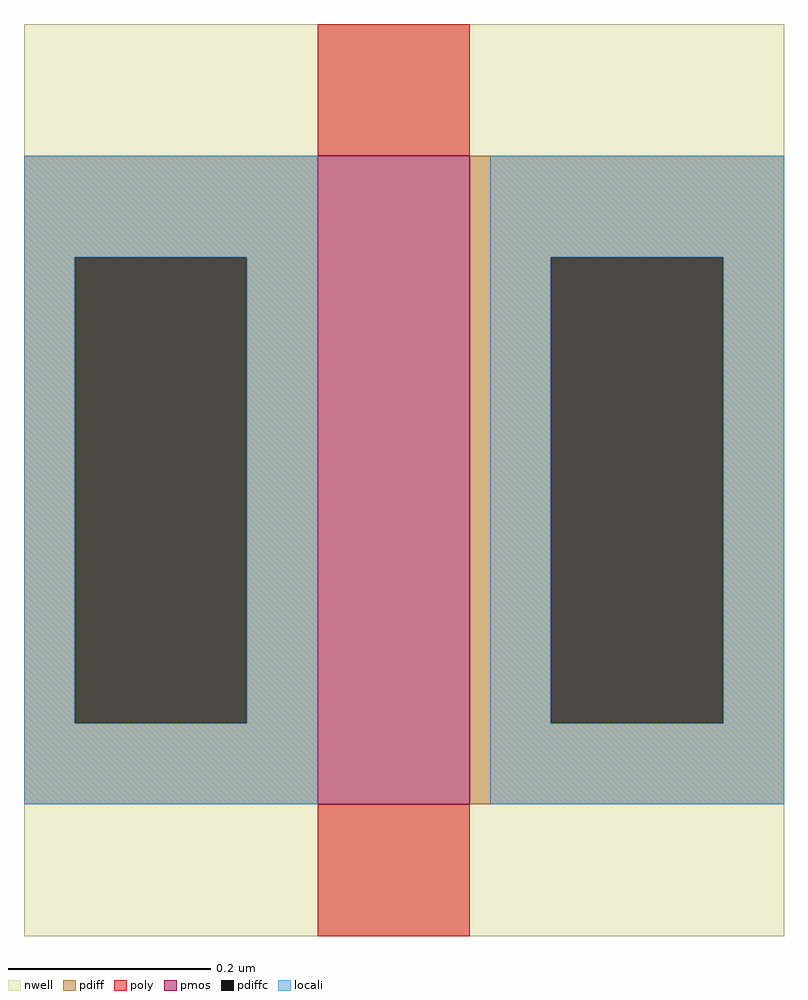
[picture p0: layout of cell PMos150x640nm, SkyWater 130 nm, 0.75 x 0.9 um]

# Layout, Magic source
magic
tech sky130A
<< nwell >>
rect -30 -13 45 77
<< pmos >>
rect -1 0 14 64
<< pdiff >>
rect -30 54 -1 64
rect -30 8 -25 54
rect -8 8 -1 54
rect -30 0 -1 8
rect 14 54 45 64
rect 14 8 22 54
rect 39 8 45 54
rect 14 0 45 8
<< pdiffc >>
rect -25 8 -8 54
rect 22 8 39 54
<< poly >>
rect -1 64 14 77
rect -1 -13 14 0
<< locali >>
rect -30 54 -1 64
rect -30 8 -25 54
rect -8 8 -1 54
rect -30 0 -1 8
rect 16 54 45 64
rect 16 8 22 54
rect 39 8 45 54
rect 16 0 45 8
<< end >>
